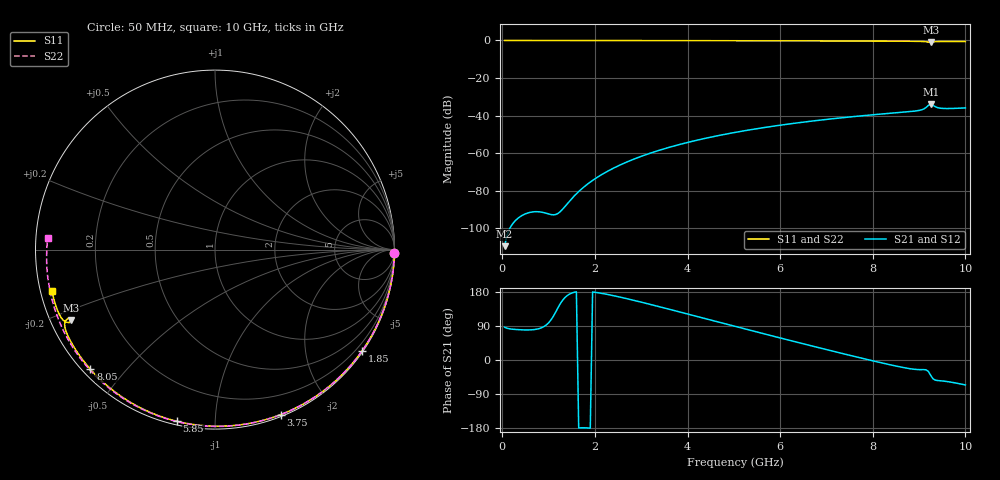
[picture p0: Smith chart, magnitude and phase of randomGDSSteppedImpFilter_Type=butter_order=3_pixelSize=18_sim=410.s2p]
! freq	dB(S11)	phase(S11)	dB(S12)	phase(S12)
!  dB(S21)	phase(S21)	dB(S22)	phase(S22)
!S-par simulation data
#  GHz  S  DB  R 50
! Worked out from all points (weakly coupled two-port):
!   200 points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, 50 MHz to 10 GHz, reference 50 ohm
!   highest |S21| = -33.95 dB at 9.25 GHz (marker M1); lowest = -109.5 dB at 50 MHz (marker M2)
!   lowest |S11| = -1.0 dB at 9.25 GHz (marker M3), VSWR 17.58, Z = 3 - j11.5 ohm
!   |S11| at or under -10 dB: nowhere
!   |S22| runs from -0.6 to 0.0 dB; largest |S21 - S12| = 0
!   S11 on the Smith chart (normalised r, x): 50 MHz: open; 1.85 GHz: 0.03, -3.20; 3.75 GHz: 0.02, -1.47; 5.85 GHz: 0.02, -0.80; 8.05 GHz: 0.02, -0.40; 10 GHz: 0.03, -0.13
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0.05  -0.00 -1.0  -109.55 86.5  -109.55 86.5  -0.00 -1.1
0.8  -0.02 -15.2  -91.27 83.0  -91.27 83.0  -0.02 -16.7
1.65  -0.04 -31.1  -80.46 -179.3  -80.46 -179.3  -0.04 -34.1
1.75  -0.04 -32.9  -78.28 -178.8  -78.28 -178.8  -0.05 -36.2
1.85  -0.04 -34.7  -76.32 -179.3  -76.32 -179.3  -0.05 -38.2
2.15  -0.05 -40.2  -71.37 175.8  -71.37 175.8  -0.06 -44.2
2.5  -0.06 -46.5  -66.82 167.1  -66.82 167.1  -0.07 -51.1
2.9  -0.07 -53.6  -62.63 155.7  -62.63 155.7  -0.08 -58.8
3.4  -0.08 -62.3  -58.40 140.4  -58.40 140.4  -0.09 -68.3
3.75  -0.09 -68.3  -55.91 129.3  -55.91 129.3  -0.10 -74.9
4.4  -0.11 -79.2  -52.03 108.7  -52.03 108.7  -0.12 -86.7
5.05  -0.14 -89.8  -48.86 88.0  -48.86 88.0  -0.15 -98.3
5.85  -0.18 -102.5  -45.66 62.9  -45.66 62.9  -0.19 -112.1
6.7  -0.23 -115.6  -42.89 36.6  -42.89 36.6  -0.25 -126.5
8.05  -0.33 -136.2  -39.48 -3.6  -39.48 -3.6  -0.36 -149.3
8.35  -0.36 -140.8  -38.84 -11.9  -38.84 -11.9  -0.39 -154.4
9  -0.48 -151.5  -37.26 -25.4  -37.26 -25.4  -0.47 -165.7
9.1  -0.58 -153.5  -36.50 -25.4  -36.50 -25.4  -0.48 -167.5
9.25  -0.99 -153.9  -33.95 -40.4  -33.95 -40.4  -0.49 -170.2
9.35  -0.68 -154.1  -35.29 -53.1  -35.29 -53.1  -0.50 -172.0
9.45  -0.56 -156.2  -36.04 -54.7  -36.04 -54.7  -0.52 -173.8
10  -0.56 -165.7  -35.93 -65.8  -35.93 -65.8  -0.59 176.0
